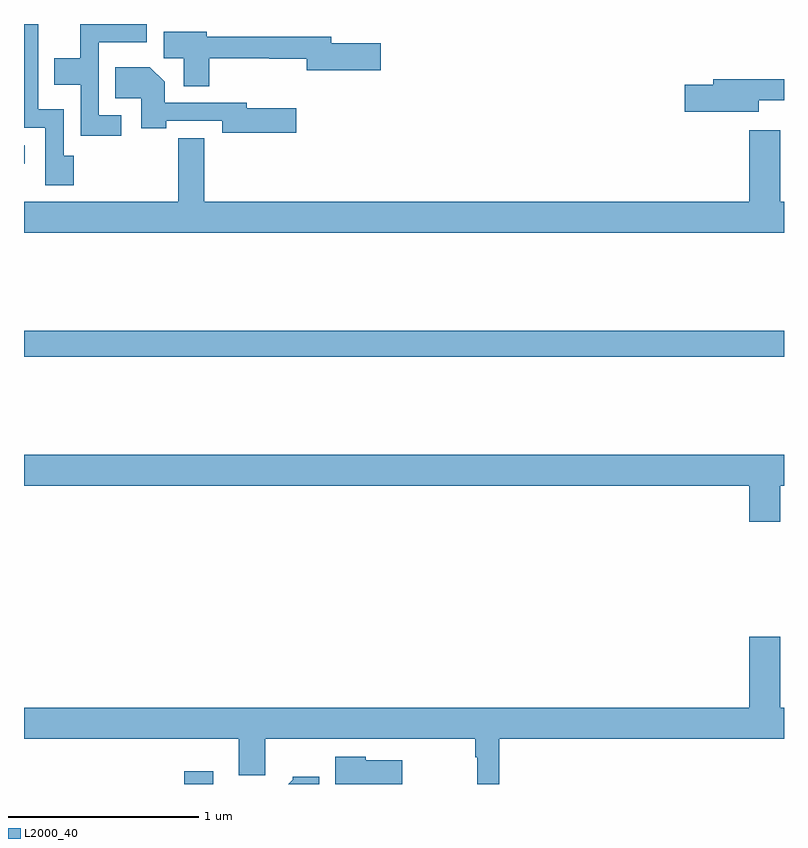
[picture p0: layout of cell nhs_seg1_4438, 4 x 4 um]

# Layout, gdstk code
import gdstk
lib = gdstk.Library(unit=1e-6, precision=1e-09)
def R(c, l, rs):  # rectangles x0, y0, x1, y1
    for r in rs: c.add(gdstk.rectangle(r[:2], r[2:], *l))
def P(c, l, *ps):  # polygons
    for p in ps: c.add(gdstk.Polygon(p, *l))
L2000_40 = (2000, 40)

nhs_seg1_4438 = lib.new_cell('nhs_seg1_4438')
R(nhs_seg1_4438, L2000_40, [(353.843,514.199,353.995,514.267), (353,516.448,357,516.584), (353,517.463,353.005,517.56)])
P(nhs_seg1_4438, L2000_40, [(353.512,517.719),(353.394,517.719),(353.394,518.102),(353.647,518.102),(353.647,518.199),(353.296,518.199),(353.296,518.02),(353.159,518.02),(353.159,517.88),(353.298,517.88),(353.298,517.611),(353.512,517.611)],
  [(353.261,517.506),(353.208,517.506),(353.208,517.75),(353.074,517.75),(353.074,518.199),(353,518.199),(353,517.653),(353.112,517.653),(353.112,517.35),(353.261,517.35)],
  [(353.975,518.02),(354.292,518.02),(354.292,518.017),(354.488,518.017),(354.488,517.955),(354.877,517.955),(354.877,518.097),(354.616,518.097),(354.616,518.131),(353.962,518.131),(353.962,518.158),(353.735,518.158),(353.735,518.02),(353.84,518.02),(353.84,517.871),(353.975,517.871)],
  [(354.433,517.756),(354.172,517.756),(354.172,517.785),(353.74,517.785),(353.74,517.894),(353.662,517.972),(353.479,517.972),(353.479,517.808),(353.618,517.808),(353.618,517.651),(353.748,517.651),(353.748,517.689),(354.044,517.689),(354.044,517.627),(354.433,517.627)],
  [(356.866,517.799),(357,517.799),(357,517.909),(356.627,517.909),(356.627,517.88),(356.478,517.88),(356.478,517.738),(356.866,517.738)],
  [(357,517.264),(356.98,517.264),(356.98,517.639),(356.816,517.639),(356.816,517.264),(353.948,517.264),(353.948,517.597),(353.812,517.597),(353.812,517.264),(353,517.264),(353,517.1),(357,517.1)],
  [(356.98,515.768),(357,515.768),(357,515.932),(353,515.932),(353,515.768),(356.816,515.768),(356.816,515.58),(356.98,515.58)],
  [(355.502,514.436),(357,514.436),(357,514.6),(356.98,514.6),(356.98,514.975),(356.816,514.975),(356.816,514.6),(353,514.6),(353,514.436),(354.131,514.436),(354.131,514.246),(354.271,514.246),(354.271,514.436),(355.374,514.436),(355.374,514.34),(355.386,514.34),(355.386,514.199),(355.502,514.199)],
  [(354.991,514.324),(354.798,514.324),(354.798,514.342),(354.638,514.342),(354.638,514.199),(354.991,514.199)],
  [(354.553,514.237),(354.414,514.237),(354.414,514.222),(354.391,514.199),(354.553,514.199)])

lib.write_gds('nhs_seg1_4438.gds')
